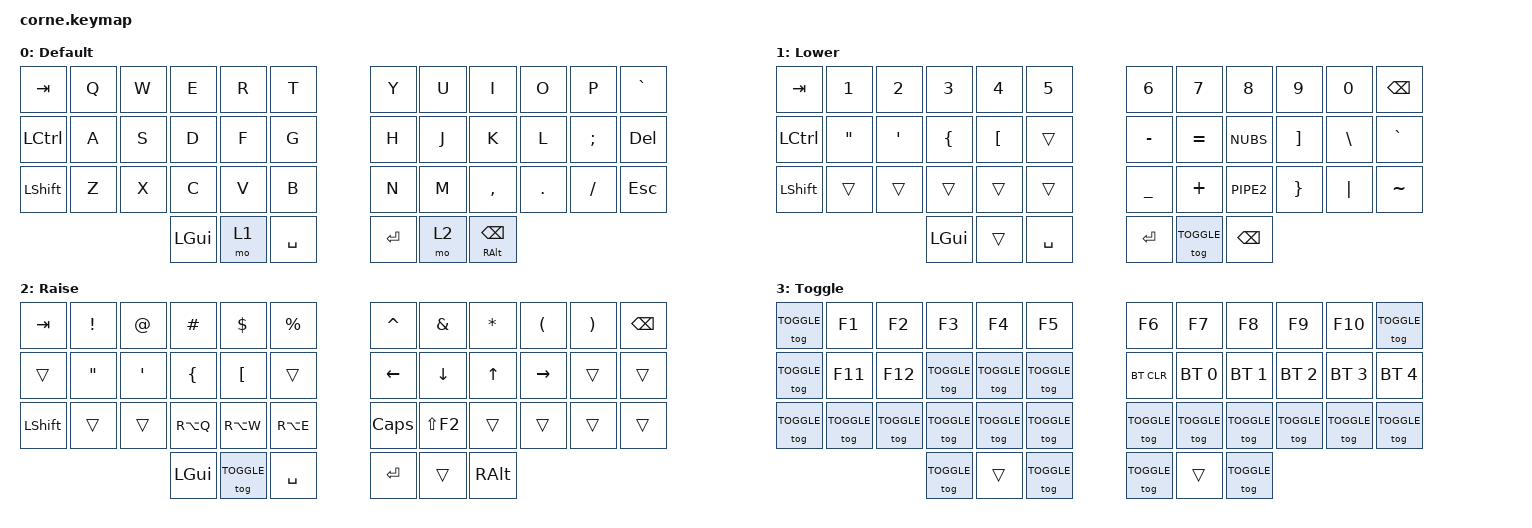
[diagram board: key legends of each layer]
/*
 * Copyright (c) 2020 The ZMK Contributors
 *
 * SPDX-License-Identifier: MIT
 */

#include <behaviors.dtsi>
#include <dt-bindings/zmk/keys.h>
#include <dt-bindings/zmk/bt.h>

#define DEFAULT 0
#define LOWER   1
#define RAISE   2
#define TOGGLE  3

// ABNT2 aliases (firmware envia keycode US; OS interpreta como ABNT2)
#define BR_ACUTE  LBKT    // ´
#define BR_GRAVE  LBRC    // `
#define BR_TILDE  SQT     // ~
#define BR_CIRC   DQT     // ^
#define BR_CEDIL  SEMI    // Ç
#define BR_SEMI   FSLH    // ;
#define BR_TREMA  CARET   // ¨

/ {
    keymap {
        compatible = "zmk,keymap";

        default_layer {
            display-name = "Default";
            // -----------------------------------------------------------------------------------------
            // |  TAB |  Q  |  W  |  E  |  R  |  T  |   |  Y  |  U  |  I  |  O  |  P  |  `   |
            // | CTRL |  A  |  S  |  D  |  F  |  G  |   |  H  |  J  |  K  |  L  |  Ç  |  DEL |
            // | SHFT |  Z  |  X  |  C  |  V  |  B  |   |  N  |  M  |  ,  |  .  |  ;  | ESC  |
            //                    | GUI | LWR | SPC |   | ENT | RSE | ALT/BKSP |

            bindings = <
&kp TAB    &kp Q  &kp W  &kp E     &kp R  &kp T        &kp Y    &kp U  &kp I               &kp O    &kp P        &kp GRAVE
&kp LCTRL  &kp A  &kp S  &kp D     &kp F  &kp G        &kp H    &kp J  &kp K               &kp L    &kp BR_CEDIL &kp DEL
&kp LSHFT  &kp Z  &kp X  &kp C     &kp V  &kp B        &kp N    &kp M  &kp COMMA           &kp DOT  &kp BR_SEMI  &kp ESC
                         &kp LGUI  &mo 1  &kp SPACE    &kp RET  &mo 2  &mt RALT BACKSPACE
            >;
        };

        lower_layer {
            display-name = "Lower";
            // -----------------------------------------------------------------------------------------
            // |  TAB |  1  |  2  |  3  |  4  |  5  |   |  6  |  7  |  8  |  9  |  0  | BKSP  |
            // | CTRL |  ^  |  ~  |  `  |  ´  |     |   |  -  |  =  | NUBS|  ]  |  \  | GRAVE |
            // | SHFT |     |     |     |     |     |   |  _  |  +  |  |  |  }  |  |  | TILDE |
            //                    | GUI |     | SPC |   | ENT | TGL | BKSP |

            bindings = <
&kp TAB    &kp N1       &kp N2       &kp N3       &kp N4       &kp N5       &kp N6     &kp N7     &kp N8     &kp N9    &kp N0    &kp BSPC
&kp LCTRL  &kp BR_CIRC  &kp BR_TILDE &kp BR_GRAVE &kp BR_ACUTE &trans       &kp MINUS  &kp EQUAL  &kp NUBS   &kp RBKT  &kp BSLH  &kp GRAVE
&kp LSHFT  &trans       &trans       &trans       &trans       &trans       &kp UNDER  &kp PLUS   &kp PIPE2  &kp RBRC  &kp PIPE  &kp TILDE
                                     &kp LGUI     &trans       &kp SPACE    &kp RET    &tog TOGGLE  &kp BSPC
            >;
        };

        raise_layer {
            display-name = "Raise";
            // -----------------------------------------------------------------------------------------
            // |  TAB |  !  |  @  |  #  |  $  |  %  |   |  ¨  |  &  |  *  |  (  |  )  | BKSP |
            // |      |  ^  |  ~  |  `  |  ´  |     |   | LFT | DWN |  UP | RGT |     |      |
            // | SHFT |     |     |RA(Q)|RA(W)|RA(E)|   | CAPS| SF2 |     |     |     |      |
            //                    | GUI | TGL | SPC |   | ENT |     | RALT |

            bindings = <
&kp TAB    &kp EXCL     &kp AT       &kp HASH     &kp DLLR      &kp PRCNT    &kp BR_TREMA  &kp AMPS    &kp ASTRK  &kp LPAR   &kp RPAR  &kp BSPC
&trans     &kp BR_CIRC  &kp BR_TILDE &kp BR_GRAVE &kp BR_ACUTE  &trans       &kp LEFT      &kp DOWN    &kp UP     &kp RIGHT  &trans    &trans
&kp LSHFT  &trans       &trans       &kp RA(Q)    &kp RA(W)     &kp RA(E)    &kp CAPSLOCK  &kp LS(F2)  &trans     &trans     &trans    &trans
                                     &kp LGUI     &tog TOGGLE   &kp SPACE    &kp RET       &trans      &kp RALT
            >;
        };

        toggle_layer {
            display-name = "Toggle";
            // -----------------------------------------------------------------------------------------
            // | [X]  | F1  | F2  | F3  | F4  | F5  |   | F6  | F7  | F8  | F9  | F10 | [X]  |
            // | [X]  | F11 | F12 | [X] | [X] | [X] |   |BTCLR| BT0 | BT1 | BT2 | BT3 | BT4  |
            // | [X]  | [X] | [X] | [X] | [X] | [X] |   | [X] | [X] | [X] | [X] | [X] | [X]  |
            //                    | [X] |     | [X] |   | [X] |     | [X] |

            bindings = <
&tog TOGGLE  &kp F1       &kp F2       &kp F3       &kp F4       &kp F5       &kp F6      &kp F7       &kp F8       &kp F9       &kp F10      &tog TOGGLE
&tog TOGGLE  &kp F11      &kp F12      &tog TOGGLE  &tog TOGGLE  &tog TOGGLE  &bt BT_CLR  &bt BT_SEL 0 &bt BT_SEL 1 &bt BT_SEL 2 &bt BT_SEL 3 &bt BT_SEL 4
&tog TOGGLE  &tog TOGGLE  &tog TOGGLE  &tog TOGGLE  &tog TOGGLE  &tog TOGGLE  &tog TOGGLE &tog TOGGLE  &tog TOGGLE  &tog TOGGLE  &tog TOGGLE  &tog TOGGLE
                          &tog TOGGLE  &trans       &tog TOGGLE  &tog TOGGLE  &trans       &tog TOGGLE
            >;
        };
    };

};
